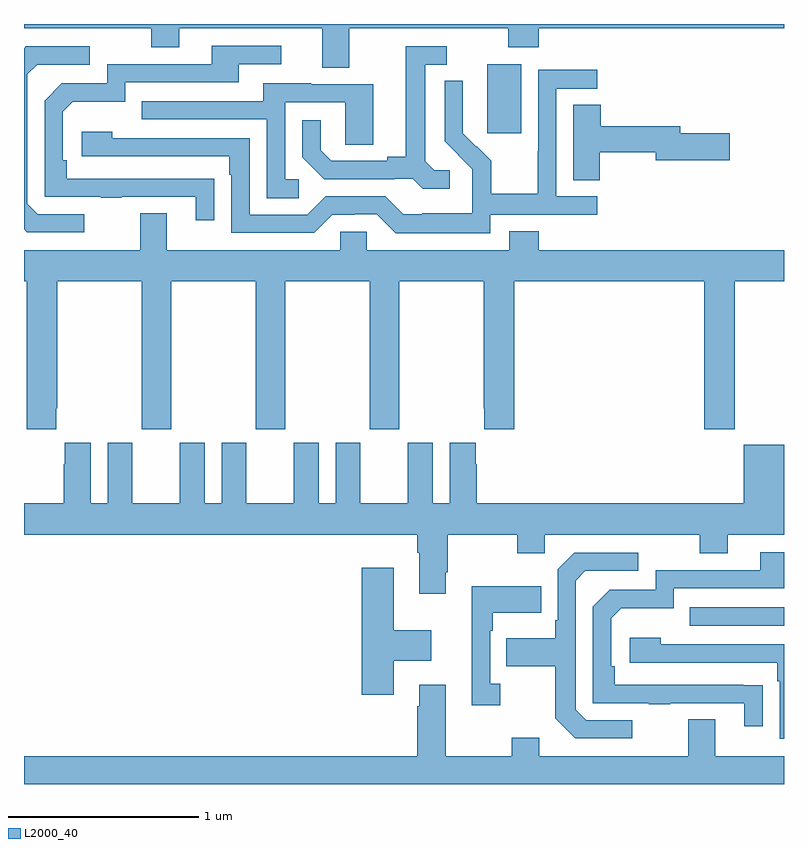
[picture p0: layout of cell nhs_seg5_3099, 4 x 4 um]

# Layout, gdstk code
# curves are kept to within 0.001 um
import gdstk
lib = gdstk.Library(unit=1e-6, precision=1e-09)
def R(c, l, rs):  # rectangles x0, y0, x1, y1
    for r in rs: c.add(gdstk.rectangle(r[:2], r[2:], *l))
def P(c, l, *ps):  # polygons
    for p in ps: c.add(gdstk.Polygon(p, *l))
L2000_40 = (2000, 40)

nhs_seg5_3099 = lib.new_cell('nhs_seg5_3099')
R(nhs_seg5_3099, L2000_40, [(294.505,837.633,295,837.729), (293.438,840.225,293.617,840.586)])
P(nhs_seg5_3099, L2000_40, [(292.711,840.776),(293.548,840.776),(293.548,840.677),(293.708,840.677),(293.708,840.776),(295,840.776),(295,840.799),(291,840.799),(291,840.776),(291.67,840.776),(291.67,840.677),(291.817,840.677),(291.817,840.776),(292.571,840.776),(292.571,840.568),(292.711,840.568)],
  [(292.001,839.984),(291.224,839.985),(291.224,840.082),(291.204,840.082),(291.204,840.336),(291.257,840.389),(291.534,840.389),(291.534,840.492),(292.129,840.492),(292.129,840.588),(292.354,840.588),(292.354,840.684),(291.989,840.684),(291.989,840.588),(291.438,840.588),(291.438,840.486),(291.198,840.486),(291.108,840.396),(291.108,839.889),(291.403,839.889),(291.403,839.884),(291.515,839.884),(291.515,839.889),(291.905,839.889),(291.905,839.766),(292.001,839.766)],
  [(293.242,840.03),(293.16,840.03),(293.113,840.077),(293.113,840.585),(293.224,840.585),(293.224,840.681),(293.009,840.681),(293.009,840.101),(292.913,840.101),(292.913,840.078),(292.618,840.078),(292.561,840.135),(292.561,840.292),(292.464,840.292),(292.464,840.098),(292.58,839.982),(292.952,839.982),(292.952,839.985),(293.046,839.985),(293.098,839.933),(293.242,839.933)],
  [(291.316,839.799),(291.072,839.799),(291.018,839.853),(291.018,840.534),(291.069,840.585),(291.346,840.585),(291.346,840.681),(291.009,840.681),(291,840.672),(291,839.718),(291.015,839.703),(291.316,839.703)],
  [(293.454,839.796),(294.016,839.796),(294.016,839.892),(293.802,839.892),(293.802,840.459),(294.016,840.459),(294.016,840.558),(293.706,840.558),(293.706,840.128),(293.704,840.128),(293.704,839.905),(293.459,839.905),(293.459,840.079),(293.382,840.156),(293.379,840.153),(293.309,840.224),(293.31,840.5),(293.214,840.5),(293.214,840.182),(293.36,840.034),(293.36,839.937),(293.358,839.937),(293.358,839.803),(293.095,839.803),(293.095,839.799),(292.995,839.799),(292.902,839.892),(292.587,839.892),(292.491,839.796),(292.188,839.796),(292.188,840.198),(291.464,840.198),(291.464,840.232),(291.303,840.232),(291.303,840.102),(292.079,840.102),(292.079,840.005),(292.092,840.005),(292.092,839.7),(292.527,839.7),(292.623,839.796),(292.742,839.796),(292.742,839.799),(292.857,839.799),(292.957,839.699),(293.454,839.699)],
  [(292.447,839.982),(292.374,839.982),(292.374,840.387),(292.692,840.387),(292.692,840.163),(292.837,840.163),(292.837,840.483),(292.513,840.483),(292.513,840.487),(292.259,840.487),(292.259,840.393),(291.619,840.393),(291.619,840.297),(292.278,840.297),(292.278,839.881),(292.447,839.881)],
  [(294.03,840.124),(294.326,840.124),(294.326,840.082),(294.715,840.082),(294.715,840.224),(294.454,840.224),(294.454,840.26),(294.035,840.26),(294.035,840.374),(293.891,840.374),(293.891,839.977),(294.03,839.977)],
  [(291.169,838.777),(291.174,838.777),(291.174,839.444),(291.619,839.444),(291.619,838.665),(291.774,838.665),(291.774,839.444),(292.219,839.444),(292.219,838.665),(292.374,838.665),(292.374,839.444),(292.819,839.444),(292.819,838.665),(292.974,838.665),(292.974,839.444),(293.419,839.444),(293.419,838.777),(293.423,838.777),(293.423,838.665),(293.579,838.665),(293.579,839.444),(294.581,839.444),(294.581,838.665),(294.741,838.665),(294.741,839.444),(295,839.444),(295,839.608),(293.708,839.608),(293.708,839.707),(293.555,839.707),(293.555,839.608),(292.803,839.608),(292.803,839.706),(292.665,839.706),(292.665,839.608),(291.751,839.608),(291.751,839.803),(291.611,839.803),(291.611,839.608),(291,839.608),(291,839.444),(291.014,839.444),(291.014,838.665),(291.169,838.665)],
  [(293.069,838.016),(293.081,838.016),(293.081,837.801),(293.221,837.801),(293.221,837.913),(293.229,837.913),(293.229,838.112),(293.596,838.112),(293.596,838.013),(293.742,838.013),(293.742,838.112),(294.556,838.112),(294.556,838.013),(294.703,838.013),(294.703,838.112),(295,838.112),(295,838.585),(294.788,838.585),(294.788,838.276),(293.384,838.276),(293.384,838.481),(293.377,838.481),(293.377,838.594),(293.24,838.594),(293.24,838.276),(293.152,838.276),(293.152,838.594),(293.021,838.594),(293.021,838.276),(292.771,838.276),(292.771,838.594),(292.64,838.594),(292.64,838.276),(292.552,838.276),(292.552,838.594),(292.421,838.594),(292.421,838.276),(292.171,838.276),(292.171,838.594),(292.04,838.594),(292.04,838.276),(291.952,838.276),(291.952,838.594),(291.821,838.594),(291.821,838.276),(291.571,838.276),(291.571,838.594),(291.44,838.594),(291.44,838.276),(291.352,838.276),(291.352,838.594),(291.215,838.594),(291.215,838.481),(291.209,838.481),(291.209,838.276),(291,838.276),(291,838.112),(293.069,838.112)],
  [(294.887,837.32),(294.11,837.321),(294.11,837.418),(294.09,837.418),(294.09,837.672),(294.143,837.725),(294.42,837.725),(294.42,837.828),(295,837.828),(295,838.02),(294.875,838.02),(294.875,837.924),(294.324,837.924),(294.324,837.822),(294.084,837.822),(293.994,837.732),(293.994,837.225),(294.289,837.225),(294.289,837.22),(294.401,837.22),(294.401,837.225),(294.791,837.225),(294.791,837.102),(294.887,837.102)],
  [(294.202,837.135),(293.958,837.135),(293.904,837.189),(293.904,837.87),(293.955,837.921),(294.232,837.921),(294.232,838.017),(293.895,838.017),(293.808,837.93),(293.808,837.661),(293.796,837.661),(293.796,837.565),(293.539,837.565),(293.539,837.418),(293.796,837.418),(293.796,837.145),(293.901,837.039),(294.202,837.039)],
  [(292.945,837.449),(293.143,837.449),(293.143,837.607),(292.945,837.607),(292.945,837.937),(292.778,837.937),(292.778,837.27),(292.945,837.27)],
  [(293.506,837.326),(293.454,837.326),(293.454,837.605),(293.467,837.605),(293.467,837.701),(293.723,837.701),(293.723,837.841),(293.357,837.841),(293.357,837.213),(293.506,837.213)],
  [(295,837.534),(294.35,837.534),(294.35,837.568),(294.189,837.568),(294.189,837.438),(294.965,837.438),(294.965,837.341),(294.978,837.341),(294.978,837.036),(295,837.036)],
  [(295,836.944),(294.637,836.944),(294.637,837.139),(294.497,837.139),(294.497,836.944),(293.713,836.944),(293.713,837.043),(293.566,837.043),(293.566,836.944),(293.221,836.944),(293.221,837.322),(293.081,837.322),(293.081,837.209),(293.069,837.209),(293.069,836.944),(291,836.944),(291,836.799),(295,836.799)])

lib.write_gds('nhs_seg5_3099.gds')
